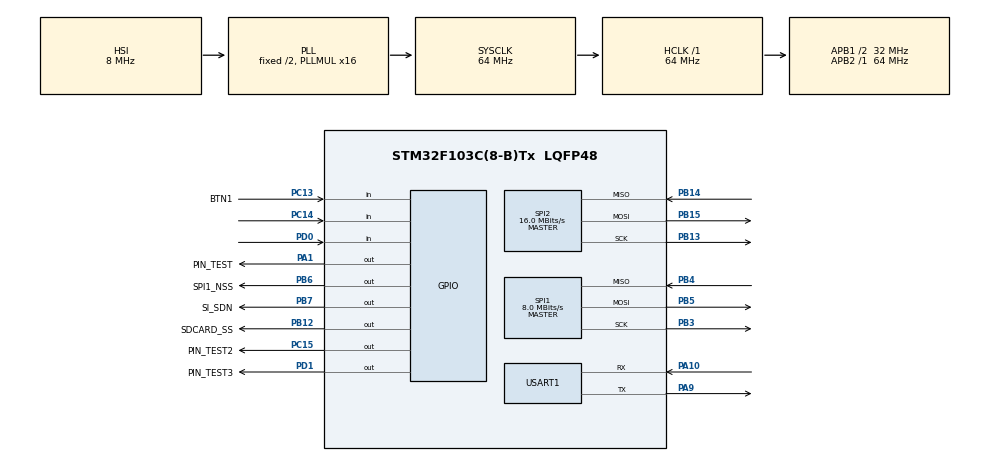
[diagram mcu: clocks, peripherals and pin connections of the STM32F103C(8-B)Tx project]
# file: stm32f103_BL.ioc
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Dma.Request0=USART1_TX
Dma.USART1_TX.0.Direction=DMA_MEMORY_TO_PERIPH
Dma.USART1_TX.0.Instance=DMA1_Channel4
Dma.USART1_TX.0.MemDataAlignment=DMA_MDATAALIGN_BYTE
Dma.USART1_TX.0.MemInc=DMA_MINC_ENABLE
Dma.USART1_TX.0.Mode=DMA_NORMAL
Dma.USART1_TX.0.PeriphDataAlignment=DMA_PDATAALIGN_BYTE
Dma.USART1_TX.0.PeriphInc=DMA_PINC_DISABLE
Dma.USART1_TX.0.Priority=DMA_PRIORITY_LOW
IWDG.Prescaler=IWDG_PRESCALER_64
IWDG.Reload=1250
Mcu.Family=STM32F1
Mcu.Name=STM32F103C(8-B)Tx
Mcu.Package=LQFP48
NVIC.DMA1_Channel4_IRQn=true\:0\:0\:false\:false\:true\:false\:true
NVIC.PriorityGroup=NVIC_PRIORITYGROUP_4
NVIC.USART1_IRQn=true\:0\:0\:false\:false\:true\:true\:true
PA1.GPIO_Label=PIN_TEST
PA1.Signal=GPIO_Output
PA10.Mode=Asynchronous
PA10.Signal=USART1_RX
PA13.Mode=Serial_Wire
PA13.Signal=SYS_JTMS-SWDIO
PA14.Mode=Serial_Wire
PA14.Signal=SYS_JTCK-SWCLK
PA9.Mode=Asynchronous
PA9.Signal=USART1_TX
PB12.GPIO_Label=SDCARD_SS
PB12.Signal=GPIO_Output
PB13.Mode=Full_Duplex_Master
PB13.Signal=SPI2_SCK
PB14.Mode=Full_Duplex_Master
PB14.Signal=SPI2_MISO
PB15.Mode=Full_Duplex_Master
PB15.Signal=SPI2_MOSI
PB3.Mode=Full_Duplex_Master
PB3.Signal=SPI1_SCK
PB4.Mode=Full_Duplex_Master
PB4.Signal=SPI1_MISO
PB5.Mode=Full_Duplex_Master
PB5.Signal=SPI1_MOSI
PB6.GPIO_Label=SPI1_NSS
PB6.Signal=GPIO_Output
PB7.GPIO_Label=SI_SDN
PB7.Signal=GPIO_Output
PC13-TAMPER-RTC.GPIO_Label=BTN1
PC13-TAMPER-RTC.Signal=GPIO_Input
PC14-OSC32_IN.Signal=GPIO_Input
PC15-OSC32_OUT.GPIO_Label=PIN_TEST2
PC15-OSC32_OUT.Signal=GPIO_Output
PD0-OSC_IN.Signal=GPIO_Input
PD1-OSC_OUT.GPIO_Label=PIN_TEST3
PD1-OSC_OUT.Signal=GPIO_Output
ProjectManager.HeapSize=0x200
ProjectManager.StackSize=0x400
ProjectManager.TargetToolchain=SW4STM32
RCC.ADCPresc=RCC_ADCPCLK2_DIV6
RCC.AHBFreq_Value=64000000
RCC.APB1CLKDivider=RCC_HCLK_DIV2
RCC.APB1Freq_Value=32000000
RCC.APB1TimFreq_Value=64000000
RCC.APB2Freq_Value=64000000
RCC.APB2TimFreq_Value=64000000
RCC.HCLKFreq_Value=64000000
RCC.PLLMUL=RCC_PLL_MUL16
RCC.SYSCLKFreq_VALUE=64000000
RCC.SYSCLKSource=RCC_SYSCLKSOURCE_PLLCLK
RCC.USBFreq_Value=64000000
SPI1.BaudRatePrescaler=SPI_BAUDRATEPRESCALER_8
SPI1.CalculateBaudRate=8.0 MBits/s
SPI1.Direction=SPI_DIRECTION_2LINES
SPI1.Mode=SPI_MODE_MASTER
SPI1.VirtualType=VM_MASTER
SPI2.CalculateBaudRate=16.0 MBits/s
SPI2.Direction=SPI_DIRECTION_2LINES
SPI2.Mode=SPI_MODE_MASTER
SPI2.VirtualType=VM_MASTER
USART1.VirtualMode=VM_ASYNC
VP_IWDG_VS_IWDG.Mode=IWDG_Activate
board=custom

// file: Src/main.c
/* USER CODE BEGIN Header */
/**
  ******************************************************************************
  * @file           : main.c
  * @brief          : Main program body
  ******************************************************************************
  * @attention
  *
  * <h2><center>&copy; Copyright (c) 2023 STMicroelectronics.
  * All rights reserved.</center></h2>
  *
  * This software component is licensed by ST under BSD 3-Clause license,
  * the "License"; You may not use this file except in compliance with the
  * License. You may obtain a copy of the License at:
  *                        opensource.org/licenses/BSD-3-Clause
  *
  ******************************************************************************
  */
/* USER CODE END Header */

#include "main.h"

/* USER CODE BEGIN Includes */

#include <string.h>
#include <stdbool.h>
#include <stdlib.h>
#include "ModemControl.h"
/* USER CODE END Includes */

IWDG_HandleTypeDef hiwdg;

SPI_HandleTypeDef hspi1;
SPI_HandleTypeDef hspi2;

UART_HandleTypeDef huart1;
DMA_HandleTypeDef hdma_usart1_tx;

void SystemClock_Config(void);
static void MX_GPIO_Init(void);
static void MX_SPI1_Init(void);
static void MX_USART1_UART_Init(void);
static void MX_IWDG_Init(void);
static void MX_DMA_Init(void);
static void MX_SPI2_Init(void);

/* USER CODE BEGIN 0 */

#pragma pack(push, 1)

typedef struct {
	uint8_t st;
	uint8_t len;
} rf_pack_header;
typedef struct {
	uint8_t status;
	uint16_t current_block;
	uint16_t total_block;
} rf_pack_program_header;
typedef struct {
	uint16_t crc;
} rf_pack_crc;
typedef struct {
	rf_pack_header header;
	rf_pack_program_header p_head;
	rf_pack_crc crc;
	uint8_t end;
} rf_program_answer;
typedef struct {
	rf_pack_header header;
	rf_pack_program_header p_head;
	uint8_t payload[50];
	rf_pack_crc crc;
	uint8_t end;
} rf_program_data;
#pragma pack(pop)

void Printf(const char * pmt);
void Printf_i(int i);
int pack_getLen(uint8_t * pack);
uint16_t pack_returnCRC(uint8_t * pack, int len);
void pack_setCRC(uint8_t * pack);
bool pack_checkCRC(uint8_t * pack);
int flash_data_finish (void);
int flash_data (uint8_t data);
int flash_pack (uint8_t *data, int len);
int read_pack(uint8_t * pack);
void jumpToApplication(uint32_t address);
int readFLASH(uint32_t address, int *d);
int writeFLASH(uint32_t address, int * d);
void Write_Bootloader_Key(uint32_t key);
uint32_t Read_Bootloader_Key(void);

// Bootloader key configuration
#define BOOTLOADER_KEY_START_ADDRESS                             (uint32_t)0x08002C00
#define BOOTLOADER_KEY_VALUE                                     0xAAAA5555
// Flash configuration
#define MAIN_PROGRAM_START_ADDRESS                               (uint32_t)0x08003000
//#define FLASH_PAGE_SIZE                                          1024

int program_state = 0;

uint8_t buf[FLASH_PAGE_SIZE];	// buffer for write flash memory
int addr = 0;			// current addr to write FLASH_PAGE_SIZE to flash
int flash_data_cnt = 0;	// counter for load buf untill size FLASH_PAGE_SIZE

void test_set(int set){
	if (set !=0) HAL_GPIO_WritePin(PIN_TEST_GPIO_Port, PIN_TEST_Pin, GPIO_PIN_SET);
		else HAL_GPIO_WritePin(PIN_TEST_GPIO_Port, PIN_TEST_Pin, GPIO_PIN_RESET);
}

void Printf(const char * pmt){
	HAL_UART_Transmit(&huart1, pmt, strlen(pmt), 500);
}
void Printf_i(int i){
	//char num[10] = {0,0,0,0,0,0,0,0,0,0};
	//itoa(i, num, 10);
	//Printf(num);
	if (i>=100) Printf("100");
	else if (i<=0) Printf("0");
	else {
		int d1=i/10;
		int d2=i%10;
		char c[3];
		c[0]=d1+0x30;
		c[1]=d2+0x30;
		c[2] = '\0';
		Printf(c);
	}
}

volatile uint32_t bootloader_timeout = 0;	//used by modemcontrol !

void SYS_myTick(void)
{
	bootloader_timeout++;
}

uint32_t GetTime_ms(void){
	return bootloader_timeout;
}

enum {	// for future, that run app together
	CMD_DATA = 0,
	CMD_REPLY_OK = 1,
	CMD_REPLY_FAIL = 2,
};

int pack_getLen(uint8_t * pack){
	int len = pack[1];
	if (len >= 60) return 0;
	return len;
}
uint16_t pack_returnCRC(uint8_t * pack, int len){
	int i;
	uint16_t crc = 0;
	for (i=0;i<(len+sizeof(rf_pack_header));i++) crc+= pack[i]*87;	// calculate crc
	return crc;
}
// return total pack len
void pack_setCRC(uint8_t * pack){
	int len = pack_getLen(pack);
	uint16_t crc = pack_returnCRC(pack, len);
	rf_pack_crc * pack_crc = (rf_pack_crc *)&pack[sizeof(rf_pack_header) + len];
	pack_crc->crc = crc;
}
bool pack_checkCRC(uint8_t * pack){
	int len = pack_getLen(pack);
	uint16_t crc = pack_returnCRC(pack, len);
	rf_pack_crc * pack_crc = (rf_pack_crc *)&pack[sizeof(rf_pack_header) + len];
	if (pack_crc->crc == crc) return true;
	return false;
}

int flash_data_finish (void){ // to load the latest data
	if (flash_data_cnt == 0) return 0;
	writeFLASH(MAIN_PROGRAM_START_ADDRESS + addr, (int *)buf);
	return 0;
}
int flash_data (uint8_t data){
	buf[flash_data_cnt++] = data;
	if (flash_data_cnt >= FLASH_PAGE_SIZE) {
		writeFLASH(MAIN_PROGRAM_START_ADDRESS + addr, (int *)buf); 	// write buf page to flash
		addr += FLASH_PAGE_SIZE;
		flash_data_cnt = 0;
	}
	return 0;
}
int flash_pack (uint8_t *data, int len){
	int i=0;
	for (i=0;i<len;i++) flash_data(data[i]);
	return 0;
}

int read_pack(uint8_t * pack){
	if (!pack_checkCRC(pack)) return -1;

	rf_program_data * data = (rf_program_data *)pack;
	rf_program_answer * answer = (rf_program_data *)pack;

	uint16_t rx_block = data->p_head.current_block;
	uint16_t rx_total = data->p_head.total_block;

	static uint16_t curr_block = 0;

	static bool clear_key = true;
	if ((clear_key) && (rx_block == 0)){
		Write_Bootloader_Key(0);
		clear_key = 0;
	}

	program_state = rx_block;
	if (rx_block == 0) {	// preparing for a new firmware
		addr = 0;			// addr current memory
		flash_data_cnt = 0;	// counter FLASH_PAGE_SIZE rx byte for write to flash
		curr_block = 0;
	}
	if (rx_block == curr_block) {
		Printf("LOAD ");
		Printf_i(rx_block*100/rx_total);
		if (rx_block == 0) Printf("%  \r");
		else Printf("%\r");
		flash_pack(data->payload, data->header.len-sizeof(rf_pack_program_header));
		curr_block++;
	}
	if (curr_block > rx_total) {	// run the app at the end of load firmware
		Printf("LOAD OK  \n\r");
		flash_data_finish();			// load the latest data to flash
		Write_Bootloader_Key(BOOTLOADER_KEY_VALUE);	// set key
		jumpToApplication (MAIN_PROGRAM_START_ADDRESS);		// run new application
	}

	//answer->header.st = '*';
	answer->header.len = sizeof(rf_pack_program_header);
	answer->p_head.status = CMD_REPLY_OK;
	//answer->p_head.current_block = rx_block;
	//answer->p_head.total_block = rx_total;
	answer->end = '#';
	pack_setCRC(pack);
	ModemControl_SendPacket(pack, sizeof(rf_program_answer));
	return 0;
}

int read_raw_byte(uint8_t data){	// parse rx raw bytes
	static int pos = 0;
	static uint8_t len = 0;
	static uint8_t clen = 0;
	static uint8_t rx_pack[64];

	rx_pack[pos + clen] = data;

	if ((pos == 0) && (data == '*')) {pos++;}
	else if (pos == 1) {len = data; if (len >= 60)len = 0; clen = 0; pos++;}
	else if ((pos == 2) && (len > clen)) {clen++;}	// payload
	else if ((pos == 2) && (len == clen)) {pos++;}	//crc1
	else if ((pos == 3)) pos++;						//crc2
	else if ((pos == 4) && (data == '#')) {read_pack(rx_pack); pos=0; clen=0;}
	else pos = 0;

	return 0;
}
void read_raw_buffer(uint8_t * data, int len){	// parse rx buffer
	int i;
	for (i=0;i<len; i++) read_raw_byte(data[i]);
}

void jumpToApplication(uint32_t address) {	// run app
//	return;
	typedef void (*pFunction)(void);
	pFunction Jump_To_Application;
	uint32_t JumpAddress;

	__disable_irq();
	JumpAddress = *(uint32_t*) (address + 4);
	Jump_To_Application = (pFunction) JumpAddress;
	// Initialize user application's Stack Pointer
	__set_MSP(*(__IO uint32_t*) address);
	Jump_To_Application();
}

int readFLASH(uint32_t address, int *d){

	int result = HAL_OK;

	result = HAL_FLASH_Unlock();
	if (result != HAL_OK) {return result;}
	//Printf("Read HAL_FLASH_Unlock\n\r");
	int i=0;
	for (i=0;i<(FLASH_PAGE_SIZE/4);i++) d[i] = *(int *)(address+ i*4);
	result = HAL_FLASH_Lock();
	//Printf("Read HAL_FLASH_Lock\n\r");
	if (result != HAL_OK) {return result;}

	return result;
}

int writeFLASH(uint32_t address, int * d){

	int result = HAL_OK;

	result = HAL_FLASH_Unlock();
	if (result != HAL_OK) {return result;}

	FLASH_EraseInitTypeDef pEraseInit;
	pEraseInit.TypeErase = FLASH_TYPEERASE_PAGES;
	pEraseInit.PageAddress = address;
	pEraseInit.NbPages = 1;

	uint32_t PageError = 0;

	HAL_FLASHEx_Erase(&pEraseInit, &PageError);
	if (result != HAL_OK) {return result;}

	int i=0;
	for (i=0;i<(FLASH_PAGE_SIZE/4);i++){
		result = HAL_FLASH_Program(FLASH_TYPEPROGRAM_WORD, address+i*4, *(int *)&d[i]);
		if (result != HAL_OK) { return result;}
	}

	result = HAL_FLASH_Lock();
	if (result != HAL_OK) {return result;}

	return result;
}

void Write_Bootloader_Key(uint32_t key){
	if (key) Printf("SET");
	else Printf("CLEAR");
	Printf(" KEY\n\r");
	*(uint32_t *)buf = key;
	writeFLASH(BOOTLOADER_KEY_START_ADDRESS, (int *)buf);
}
uint32_t Read_Bootloader_Key(void){
	readFLASH(BOOTLOADER_KEY_START_ADDRESS, (int *)buf);
	return *(uint32_t * )buf;
}

/* USER CODE END 0 */

int main(void)
{

  /* MCU Configuration--------------------------------------------------------*/

  /* Reset of all peripherals, Initializes the Flash interface and the Systick. */
  HAL_Init();

  /* Configure the system clock */
  SystemClock_Config();

  /* Initialize all configured peripherals */
  MX_GPIO_Init();
  MX_SPI1_Init();
  MX_USART1_UART_Init();
  MX_IWDG_Init();
  MX_DMA_Init();
  MX_SPI2_Init();
  /* USER CODE BEGIN 2 */

  HAL_IWDG_Init(&hiwdg);
  __HAL_IWDG_START(&hiwdg);
  HAL_IWDG_Refresh(&hiwdg);

  Printf("\n\rBL\n\r");

  int MC_init = ModemControl_init();
  if (MC_init < 0) {
	  Printf("MC FAIL\n\r");
	  HAL_Delay(5000);	// wait wdg...
  }

  /* USER CODE END 2 */

  /* Infinite loop */
  /* USER CODE BEGIN WHILE */
  while (1)
  {
	int ret = 0;
	HAL_IWDG_Refresh(&hiwdg);

	ret = ModemControl_Loop();
	if (ret == 1){	// if rx data pack
		uint8_t buff_pack[64];
		int32_t rx_len = ModemControl_GetPacket(buff_pack);
		if (rx_len > 0) read_raw_buffer(buff_pack, rx_len);
	}

	static uint32_t l_timer = 0;
	if ((bootloader_timeout - l_timer) >= 1000) {	// every 1s try start...
		l_timer = bootloader_timeout;

		const int ps = 0;
		if (program_state != ps) {	// if programming stop, will try start after 2s
			program_state = ps;
			continue;
		}
		uint32_t key = Read_Bootloader_Key();
		if (key == BOOTLOADER_KEY_VALUE) {	// if key set => run app
			  Printf("RUN APP\n\r");
			  jumpToApplication (MAIN_PROGRAM_START_ADDRESS);
		}
	}

    /* USER CODE END WHILE */

  }
}

void SystemClock_Config(void)
{
  RCC_OscInitTypeDef RCC_OscInitStruct = {0};
  RCC_ClkInitTypeDef RCC_ClkInitStruct = {0};

  /** Initializes the CPU, AHB and APB busses clocks
  */
  RCC_OscInitStruct.OscillatorType = RCC_OSCILLATORTYPE_HSI|RCC_OSCILLATORTYPE_LSI;
  RCC_OscInitStruct.HSIState = RCC_HSI_ON;
  RCC_OscInitStruct.HSICalibrationValue = RCC_HSICALIBRATION_DEFAULT;
  RCC_OscInitStruct.LSIState = RCC_LSI_ON;
  RCC_OscInitStruct.PLL.PLLState = RCC_PLL_ON;
  RCC_OscInitStruct.PLL.PLLSource = RCC_PLLSOURCE_HSI_DIV2;
  RCC_OscInitStruct.PLL.PLLMUL = RCC_PLL_MUL16;
  if (HAL_RCC_OscConfig(&RCC_OscInitStruct) != HAL_OK)
  {
    Error_Handler();
  }
  /** Initializes the CPU, AHB and APB busses clocks
  */
  RCC_ClkInitStruct.ClockType = RCC_CLOCKTYPE_HCLK|RCC_CLOCKTYPE_SYSCLK
                              |RCC_CLOCKTYPE_PCLK1|RCC_CLOCKTYPE_PCLK2;
  RCC_ClkInitStruct.SYSCLKSource = RCC_SYSCLKSOURCE_PLLCLK;
  RCC_ClkInitStruct.AHBCLKDivider = RCC_SYSCLK_DIV1;
  RCC_ClkInitStruct.APB1CLKDivider = RCC_HCLK_DIV2;
  RCC_ClkInitStruct.APB2CLKDivider = RCC_HCLK_DIV1;

  if (HAL_RCC_ClockConfig(&RCC_ClkInitStruct, FLASH_LATENCY_2) != HAL_OK)
  {
    Error_Handler();
  }
}

static void MX_IWDG_Init(void)
{

  hiwdg.Instance = IWDG;
  hiwdg.Init.Prescaler = IWDG_PRESCALER_64;
  hiwdg.Init.Reload = 1250;
  if (HAL_IWDG_Init(&hiwdg) != HAL_OK)
  {
    Error_Handler();
  }

}

static void MX_SPI1_Init(void)
{

  /* SPI1 parameter configuration*/
  hspi1.Instance = SPI1;
  hspi1.Init.Mode = SPI_MODE_MASTER;
  hspi1.Init.Direction = SPI_DIRECTION_2LINES;
  hspi1.Init.DataSize = SPI_DATASIZE_8BIT;
  hspi1.Init.CLKPolarity = SPI_POLARITY_LOW;
  hspi1.Init.CLKPhase = SPI_PHASE_1EDGE;
  hspi1.Init.NSS = SPI_NSS_SOFT;
  hspi1.Init.BaudRatePrescaler = SPI_BAUDRATEPRESCALER_8;
  hspi1.Init.FirstBit = SPI_FIRSTBIT_MSB;
  hspi1.Init.TIMode = SPI_TIMODE_DISABLE;
  hspi1.Init.CRCCalculation = SPI_CRCCALCULATION_DISABLE;
  hspi1.Init.CRCPolynomial = 10;
  if (HAL_SPI_Init(&hspi1) != HAL_OK)
  {
    Error_Handler();
  }

}

static void MX_SPI2_Init(void)
{

  /* SPI2 parameter configuration*/
  hspi2.Instance = SPI2;
  hspi2.Init.Mode = SPI_MODE_MASTER;
  hspi2.Init.Direction = SPI_DIRECTION_2LINES;
  hspi2.Init.DataSize = SPI_DATASIZE_8BIT;
  hspi2.Init.CLKPolarity = SPI_POLARITY_LOW;
  hspi2.Init.CLKPhase = SPI_PHASE_1EDGE;
  hspi2.Init.NSS = SPI_NSS_SOFT;
  hspi2.Init.BaudRatePrescaler = SPI_BAUDRATEPRESCALER_2;
  hspi2.Init.FirstBit = SPI_FIRSTBIT_MSB;
  hspi2.Init.TIMode = SPI_TIMODE_DISABLE;
  hspi2.Init.CRCCalculation = SPI_CRCCALCULATION_DISABLE;
  hspi2.Init.CRCPolynomial = 10;
  if (HAL_SPI_Init(&hspi2) != HAL_OK)
  {
    Error_Handler();
  }

}

static void MX_USART1_UART_Init(void)
{

  huart1.Instance = USART1;
  huart1.Init.BaudRate = 115200;
  huart1.Init.WordLength = UART_WORDLENGTH_8B;
  huart1.Init.StopBits = UART_STOPBITS_1;
  huart1.Init.Parity = UART_PARITY_NONE;
  huart1.Init.Mode = UART_MODE_TX_RX;
  huart1.Init.HwFlowCtl = UART_HWCONTROL_NONE;
  huart1.Init.OverSampling = UART_OVERSAMPLING_16;
  if (HAL_UART_Init(&huart1) != HAL_OK)
  {
    Error_Handler();
  }

}

static void MX_DMA_Init(void)
{

  /* DMA controller clock enable */
  __HAL_RCC_DMA1_CLK_ENABLE();

  /* DMA interrupt init */
  /* DMA1_Channel4_IRQn interrupt configuration */
  HAL_NVIC_SetPriority(DMA1_Channel4_IRQn, 0, 0);
  HAL_NVIC_EnableIRQ(DMA1_Channel4_IRQn);

}

static void MX_GPIO_Init(void)
{
  GPIO_InitTypeDef GPIO_InitStruct = {0};

  /* GPIO Ports Clock Enable */
  __HAL_RCC_GPIOC_CLK_ENABLE();
  __HAL_RCC_GPIOD_CLK_ENABLE();
  __HAL_RCC_GPIOA_CLK_ENABLE();
  __HAL_RCC_GPIOB_CLK_ENABLE();

  /*Configure GPIO pin Output Level */
  HAL_GPIO_WritePin(PIN_TEST2_GPIO_Port, PIN_TEST2_Pin, GPIO_PIN_RESET);

  /*Configure GPIO pin Output Level */
  HAL_GPIO_WritePin(PIN_TEST3_GPIO_Port, PIN_TEST3_Pin, GPIO_PIN_RESET);

  /*Configure GPIO pin Output Level */
  HAL_GPIO_WritePin(PIN_TEST_GPIO_Port, PIN_TEST_Pin, GPIO_PIN_RESET);

  /*Configure GPIO pin Output Level */
  HAL_GPIO_WritePin(GPIOB, SDCARD_SS_Pin|SPI1_NSS_Pin|SI_SDN_Pin, GPIO_PIN_RESET);

  /*Configure GPIO pins : BTN1_Pin PC14 */
  GPIO_InitStruct.Pin = BTN1_Pin|GPIO_PIN_14;
  GPIO_InitStruct.Mode = GPIO_MODE_INPUT;
  GPIO_InitStruct.Pull = GPIO_NOPULL;
  HAL_GPIO_Init(GPIOC, &GPIO_InitStruct);

  /*Configure GPIO pin : PIN_TEST2_Pin */
  GPIO_InitStruct.Pin = PIN_TEST2_Pin;
  GPIO_InitStruct.Mode = GPIO_MODE_OUTPUT_PP;
  GPIO_InitStruct.Pull = GPIO_NOPULL;
  GPIO_InitStruct.Speed = GPIO_SPEED_FREQ_LOW;
  HAL_GPIO_Init(PIN_TEST2_GPIO_Port, &GPIO_InitStruct);

  /*Configure GPIO pin : PD0 */
  GPIO_InitStruct.Pin = GPIO_PIN_0;
  GPIO_InitStruct.Mode = GPIO_MODE_INPUT;
  GPIO_InitStruct.Pull = GPIO_NOPULL;
  HAL_GPIO_Init(GPIOD, &GPIO_InitStruct);

  /*Configure GPIO pin : PIN_TEST3_Pin */
  GPIO_InitStruct.Pin = PIN_TEST3_Pin;
  GPIO_InitStruct.Mode = GPIO_MODE_OUTPUT_PP;
  GPIO_InitStruct.Pull = GPIO_NOPULL;
  GPIO_InitStruct.Speed = GPIO_SPEED_FREQ_LOW;
  HAL_GPIO_Init(PIN_TEST3_GPIO_Port, &GPIO_InitStruct);

  /*Configure GPIO pin : PIN_TEST_Pin */
  GPIO_InitStruct.Pin = PIN_TEST_Pin;
  GPIO_InitStruct.Mode = GPIO_MODE_OUTPUT_PP;
  GPIO_InitStruct.Pull = GPIO_NOPULL;
  GPIO_InitStruct.Speed = GPIO_SPEED_FREQ_LOW;
  HAL_GPIO_Init(PIN_TEST_GPIO_Port, &GPIO_InitStruct);

  /*Configure GPIO pins : SDCARD_SS_Pin SPI1_NSS_Pin SI_SDN_Pin */
  GPIO_InitStruct.Pin = SDCARD_SS_Pin|SPI1_NSS_Pin|SI_SDN_Pin;
  GPIO_InitStruct.Mode = GPIO_MODE_OUTPUT_PP;
  GPIO_InitStruct.Pull = GPIO_NOPULL;
  GPIO_InitStruct.Speed = GPIO_SPEED_FREQ_LOW;
  HAL_GPIO_Init(GPIOB, &GPIO_InitStruct);

  /*Configure peripheral I/O remapping */
  __HAL_AFIO_REMAP_PD01_ENABLE();

}

void Error_Handler(void)
{
}

/************************ (C) COPYRIGHT STMicroelectronics *****END OF FILE****/
